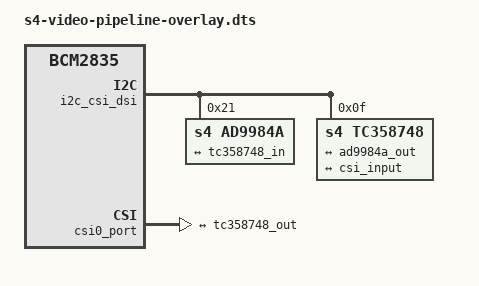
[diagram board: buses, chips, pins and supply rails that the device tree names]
/dts-v1/;
/plugin/;

/ {
    compatible = "brcm,bcm2835";

    fragment@0 {
        target = <&i2c_csi_dsi>;
        __overlay__ {
            #address-cells = <1>;
            #size-cells = <0>;

            ad9984a: ad9984a@21 {
                compatible = "s4,ad9984a";
                reg = <0x21>;
                status = "okay";
                pinctrl-names = "default";
                pinctrl-0 = <&i2c_csi_dsi_pins>;

                /* Adaptive telemetry controls */
                auto-timing-detect; /* Automatically detects timing parameters (hsync/vsync, porch values, etc.) based on active analog VGA signal and updates runtime pipeline settings accordingly. */
                auto-framerate-detect;
                signal-stability-scan;
                enable-v4l2-controls;
                enable-v4l2-telemetry-controls;

                /* Diagnostics and Debugging */
                enable-debug-telemetry;
                enable-v4l2-private-controls;
                enable-sysfs-debug;
                enable-failsafe-mode;
                enable-i2c-state-dump;
                enable-frame-info-report;
                enable-debug-toggle;

                port {
                    ad9984a_out: endpoint {
                        remote-endpoint = <&tc358748_in>;
                        bus-width = <24>;
                        data-shift = <0>;
                        hsync-active = <1>;
                        vsync-active = <1>;
                        pclk-sample = <1>;
                        data-enable-active = <1>;
                        bus-type = <5>; /* V4L2_MBUS_PARALLEL */
                        hsync-len = <0>; /* auto: dynamically detected */
                        vsync-len = <0>; /* auto: dynamically detected */
                        hback-porch = <0>; /* auto: dynamically detected */
                        vback-porch = <0>; /* auto: dynamically detected; recommend logging or exporting via debugfs or V4L2 telemetry for signal tuning */
                        hfront-porch = <0>; /* auto: dynamically detected */
                        vfront-porch = <0>; /* auto: dynamically detected */
                    };
                };
            };

            tc358748: tc358748@0f {
                compatible = "s4,tc358748";
                reg = <0x0f>;
                status = "okay";

                enable-bridge-mode;
                adaptive-clock-scan; /* Enables real-time clock frequency sampling on the CSI bridge. Monitors and adjusts to input pixel clock drift to maintain sync stability. Particularly useful for analog or unstable sources. */
                timing-snoop;

                /* Optional signaling and readiness feedback */
                passthrough-ready-status; /* Signals to the host when the bridge has locked to a stable signal and CSI passthrough is enabled. */
                clock-lock-indicator;    /* Indicates whether the incoming clock has stabilized. Can be linked to debugfs or V4L2 control for monitoring. */

                /* Diagnostics and Debugging */
                enable-debug-telemetry;
                enable-v4l2-private-controls;
                enable-sysfs-debug;
                enable-failsafe-mode;
                enable-i2c-state-dump;
                enable-frame-info-report;
                enable-debug-toggle;

                port@0 {
                    tc358748_in: endpoint {
                        remote-endpoint = <&ad9984a_out>;
                        bus-width = <24>;
                        data-shift = <0>;
                        hsync-active = <1>;
                        vsync-active = <1>;
                        pclk-sample = <1>;
                        data-enable-active = <1>;
                        bus-type = <5>; /* V4L2_MBUS_PARALLEL */
                    };
                };

                port@1 {
                    tc358748_out: endpoint {
                        bus-type = <4>; /* V4L2_MBUS_CSI2_DPHY */
                        remote-endpoint = <&csi_input>;
                    };
                };
            };
        };
    };

    fragment@1 {
        target = <&csi0_port>; // Or &csi1_port depending on platform
        __overlay__ {
            csi_input: endpoint {
                remote-endpoint = <&tc358748_out>;
                data-lanes = <1 2>; // Adjust based on actual hardware
            };
        };
    };
};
